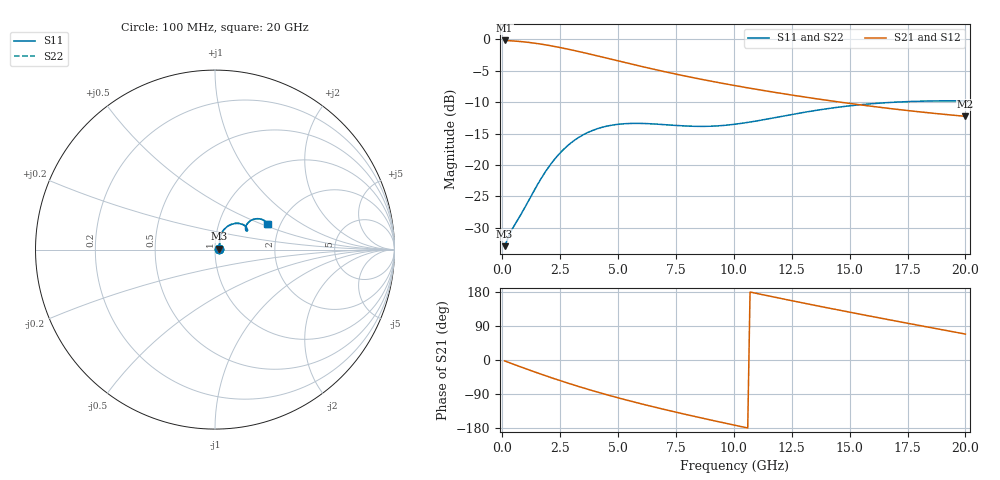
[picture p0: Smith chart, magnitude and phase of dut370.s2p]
! Touchstone file exported from HFSS 2024.1.0
!  File:  C:/UserFiles/LocalFiles/RDL_TSV_Batchsim/temp_RDL_TSV_370_1779642446.aedt
!  Generated:  01:26:10 AM May 25, 2026
!  Design:  RDL_TSV
!  Project:  temp_RDL_TSV_370_1779642446
!  Setup:  Setup1
!  Solution:  Sweep
! Variables:
!  dtsv = 6.5um
!  hbump = 3um
!  htsv = 76.09um
!  ldown = 622.79um
!  lrdl = 653.6um
!  p = 40
!  p1 = 52.17um
!  rhole = 10um
!  subl = 4482.77um
!  t = 450um
!  tdown = 4.26um
!  trdl = 2.36um
!  viad = 10um
!  wdown = 28.48um
!  wrdl = 26.37um
!  xbump = 18um
# GHz S MA R 50.000000
! Terminal data exported
! Port[1] = TM1_1_T1
! Port[2] = TM1_4_T1
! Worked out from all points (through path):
!   200 points, 100 MHz to 20 GHz, reference 50 ohm
!   highest |S21| = -0.20 dB at 100 MHz (marker M1); lowest = -12.3 dB at 20 GHz (marker M2)
!   group delay of S21, straight-line fit = 38.7 ps
!   lowest |S11| = -32.9 dB at 100 MHz (marker M3), VSWR 1.05, Z = 52.2 + j0.542 ohm
!   |S11| at or under -10 dB: start of sweep to 17.02 GHz
!   |S22| runs from -32.9 to -9.8 dB; largest |S21 - S12| = 9.9e-15
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0.1  0.02261 13.2  0.9778 -2.4  0.9778 -2.4  0.0226 13.2
! Gamma 0 0 0 0
! Port Impedance 50 0 50 0
0.4  0.03021 34.2  0.971 -9.3  0.971 -9.3  0.03021 34.3
0.9  0.04338 54.0  0.9544 -20.6  0.9544 -20.6  0.04335 54.1
1.4  0.0638 65.3  0.9303 -31.5  0.9303 -31.5  0.06382 65.5
1.8  0.08482 68.1  0.9066 -40.1  0.9066 -40.1  0.08491 68.3
2.2  0.1077 67.3  0.88 -48.4  0.88 -48.4  0.1079 67.5
2.6  0.1304 64.5  0.8513 -56.4  0.8513 -56.4  0.1308 64.7
3  0.1515 60.6  0.8214 -64.3  0.8214 -64.3  0.152 60.8
3.5  0.174 55.1  0.7833 -73.7  0.7833 -73.7  0.1746 55.4
4.2  0.1967 47.6  0.7303 -86.3  0.7303 -86.3  0.1976 47.8
5.1  0.2115 39.4  0.6661 -101.4  0.6661 -101.4  0.2126 39.6
5.9  0.2142 34.2  0.6144 -114.1  0.6144 -114.1  0.2155 34.4
6.8  0.2105 30.9  0.563 -127.6  0.563 -127.6  0.2121 31.0
7.5  0.2062 30.2  0.5279 -137.7  0.5279 -137.7  0.2079 30.3
8.3  0.203 31.1  0.4922 -148.9  0.4922 -148.9  0.2047 31.1
10.1  0.2114 36.2  0.4261 -172.9  0.4261 -172.9  0.2131 36.1
11.8  0.2384 39.2  0.3771 165.3  0.3771 165.3  0.2399 39.0
13.4  0.2691 38.5  0.3396 145.5  0.3396 145.5  0.2703 38.3
15  0.2953 35.6  0.3086 126.2  0.3086 126.2  0.2965 35.5
16.7  0.3139 31.8  0.2817 106.2  0.2817 106.2  0.3151 31.7
18.3  0.3223 28.5  0.2612 87.8  0.2612 87.8  0.3236 28.4
20  0.3239 25.7  0.2437 68.4  0.2437 68.4  0.3252 25.6
